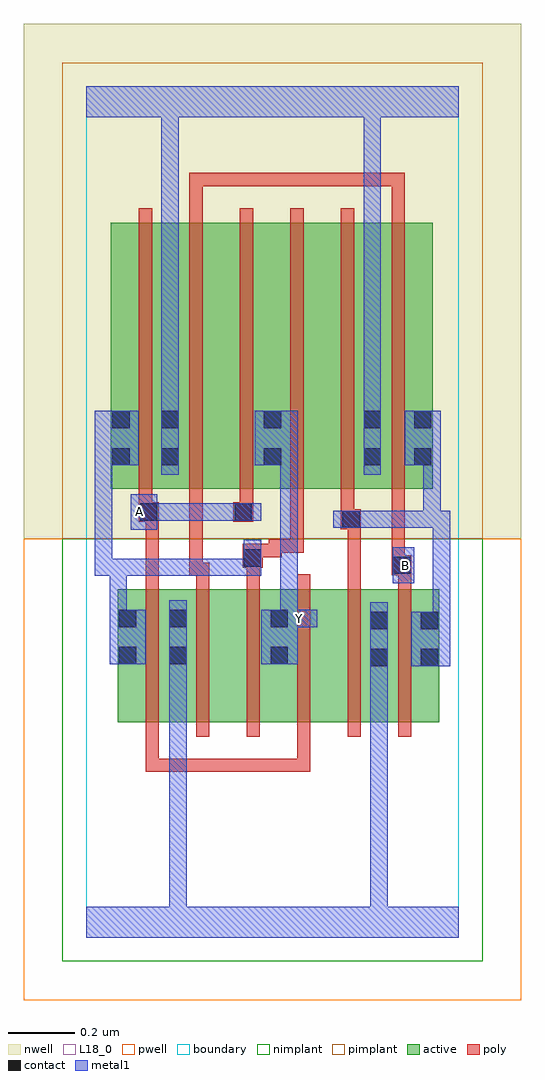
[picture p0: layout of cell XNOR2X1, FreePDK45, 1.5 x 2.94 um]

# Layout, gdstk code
import gdstk
lib = gdstk.Library(unit=1e-6, precision=1e-09)
def R(c, l, rs):  # rectangles x0, y0, x1, y1
    for r in rs: c.add(gdstk.rectangle(r[:2], r[2:], *l))
def A(c, l, x, y, w, h, nx, ny, dx, dy):  # array of equal rectangles
    R(c, l, [(x+i*dx, y+j*dy, x+i*dx+w, y+j*dy+h) for i in range(nx) for j in range(ny)])
active = (1, 0)
pwell = (2, 0)
nwell = (3, 0)
nimplant = (4, 0)
pimplant = (5, 0)
poly = (9, 0)
contact = (10, 0)
metal1 = (11, 0)
L18_0 = (18, 0)
boundary = (235, 0)

xnor2x1 = lib.new_cell('XNOR2X1')
R(xnor2x1, active, [(0.094,0.648,0.154,1.048), (0.094,0.648,0.306,1.048), (0.246,0.648,0.426,1.048), (0.426,0.648,0.61,1.048), (0.55,0.648,0.73,1.048), (0.73,0.648,0.91,1.048), (0.85,0.648,1.062,1.048), (1.002,0.648,1.062,1.048), (0.246,0.756,0.306,0.99), (0.55,0.756,0.61,0.99), (0.85,0.756,0.91,0.984), (0.074,1.35,0.134,2.044), (0.074,1.35,0.282,2.15), (0.222,1.35,0.406,2.15), (0.406,1.35,0.59,2.15), (0.53,1.35,0.59,2.15), (0.53,1.35,0.71,2.15), (0.71,1.35,0.89,2.15), (0.83,1.35,1.042,2.15), (0.83,1.35,0.89,2.15), (0.982,1.35,1.042,2.044), (0.222,1.372,0.282,2.15)])
R(xnor2x1, pwell, [(-0.188,-0.188,1.308,1.2)])
R(xnor2x1, nwell, [(-0.188,1.2,1.308,2.748)])
R(xnor2x1, nimplant, [(-0.072,-0.072,1.192,1.2)])
R(xnor2x1, pimplant, [(-0.072,1.2,1.192,2.632)])
A(xnor2x1, poly, 0.178, 0.604, 0.04, 0.488, 6, 1, 0.152, 0)
A(xnor2x1, poly, 0.158, 1.306, 0.04, 0.888, 6, 1, 0.152, 0)
R(xnor2x1, poly, [(0.178,0.498,0.218,0.644), (0.178,0.498,0.218,0.538), (0.178,0.498,0.218,0.538), (0.178,0.498,0.218,0.538), (0.178,0.498,0.376,0.538), (0.336,0.498,0.376,0.538), (0.336,0.498,0.376,0.538), (0.336,0.498,0.376,0.538), (0.336,0.498,0.482,0.538), (0.442,0.498,0.482,0.538), (0.442,0.498,0.482,0.538), (0.442,0.498,0.482,0.538), (0.442,0.498,0.674,0.538), (0.634,0.498,0.674,0.644), (0.634,0.498,0.674,0.538), (0.178,1.052,0.218,1.29), (0.33,1.052,0.37,1.128), (0.482,1.052,0.522,1.152), (0.786,1.052,0.826,1.268), (0.938,1.052,0.978,1.13), (0.31,1.088,0.35,1.346), (0.31,1.088,0.37,1.128), (0.33,1.088,0.37,1.128), (0.33,1.088,0.37,1.128), (0.918,1.09,0.978,1.15), (0.918,1.11,0.958,1.15), (0.918,1.11,0.958,1.15), (0.918,1.11,0.958,1.346), (0.47,1.112,0.53,1.184), (0.49,1.144,0.588,1.184), (0.548,1.144,0.588,1.198), (0.548,1.158,0.654,1.198), (0.614,1.158,0.654,1.198), (0.614,1.158,0.654,1.198), (0.614,1.158,0.654,1.198), (0.614,1.158,0.654,1.346), (0.766,1.228,0.826,1.288), (0.786,1.228,0.826,1.268), (0.786,1.228,0.826,1.268), (0.766,1.248,0.806,1.346), (0.158,1.25,0.218,1.31), (0.178,1.25,0.218,1.29), (0.178,1.25,0.218,1.29), (0.442,1.25,0.502,1.31), (0.158,1.27,0.198,1.346), (0.462,1.27,0.502,1.346), (0.31,2.154,0.35,2.3), (0.918,2.154,0.958,2.3), (0.31,2.26,0.35,2.3), (0.31,2.26,0.35,2.3), (0.31,2.26,0.35,2.3), (0.31,2.26,0.486,2.3), (0.446,2.26,0.486,2.3), (0.446,2.26,0.486,2.3), (0.446,2.26,0.486,2.3), (0.446,2.26,0.7,2.3), (0.66,2.26,0.7,2.3), (0.66,2.26,0.852,2.3), (0.812,2.26,0.852,2.3), (0.812,2.26,0.852,2.3), (0.812,2.26,0.852,2.3), (0.812,2.26,0.958,2.3), (0.918,2.26,0.958,2.3), (0.918,2.26,0.958,2.3), (0.918,2.26,0.958,2.3)])
R(xnor2x1, contact, [(0.854,0.816,0.906,0.868), (1.006,0.816,1.058,0.868), (0.098,0.822,0.15,0.874), (0.25,0.822,0.302,0.874), (0.554,0.822,0.606,0.874), (0.854,0.928,0.906,0.98), (1.006,0.928,1.058,0.98), (0.098,0.934,0.15,0.986), (0.25,0.934,0.302,0.986), (0.554,0.934,0.606,0.986), (0.922,1.094,0.974,1.146), (0.474,1.116,0.526,1.168), (0.77,1.232,0.822,1.284), (0.162,1.254,0.214,1.306), (0.446,1.254,0.498,1.306), (0.078,1.42,0.13,1.472), (0.226,1.42,0.278,1.472), (0.534,1.42,0.586,1.472), (0.834,1.42,0.886,1.472), (0.986,1.42,1.038,1.472), (0.078,1.532,0.13,1.584), (0.226,1.532,0.278,1.584), (0.534,1.532,0.586,1.584), (0.834,1.532,0.886,1.584), (0.986,1.532,1.038,1.584)])
R(xnor2x1, metal1, [(0,0,1.12,0.092), (0.25,0.04,0.302,0.092), (0.25,0.04,0.302,0.092), (0.25,0.04,0.302,0.092), (0.25,0.04,0.302,0.092), (0.25,0.04,0.302,0.092), (0.25,0.04,0.302,0.092), (0.25,0.04,0.302,0.092), (0.25,0.04,0.302,0.092), (0.25,0.04,0.302,0.846), (0.854,0.04,0.906,0.092), (0.854,0.04,0.906,0.092), (0.854,0.04,0.906,0.84), (0.854,0.788,0.906,0.84), (0.854,0.788,0.906,0.84), (0.854,0.788,0.906,0.84), (0.854,0.788,0.906,0.84), (0.854,0.788,0.906,0.84), (0.854,0.788,0.906,0.84), (0.854,0.788,0.906,0.84), (0.854,0.788,0.906,0.84), (0.854,0.788,0.906,0.84), (0.854,0.788,0.906,0.84), (0.854,0.788,0.906,1.008), (0.25,0.794,0.302,0.846), (0.25,0.794,0.302,0.846), (0.25,0.794,0.302,0.846), (0.25,0.794,0.302,0.846), (0.25,0.794,0.302,1.014), (0.978,0.816,1.094,0.98), (0.07,0.822,0.178,0.986), (0.526,0.822,0.636,0.986), (1.042,0.928,1.094,1.284), (1.042,0.928,1.094,0.98), (1.042,0.928,1.094,0.98), (0.07,0.934,0.122,1.14), (0.584,0.934,0.636,0.986), (0.584,0.934,0.636,0.986), (0.584,0.934,0.636,0.986), (0.584,0.934,0.636,1.472), (0.584,0.934,0.694,0.986), (0.922,1.066,0.986,1.174), (0.026,1.088,0.078,1.14), (0.026,1.088,0.078,1.14), (0.026,1.088,0.078,1.472), (0.026,1.088,0.122,1.14), (0.07,1.088,0.122,1.14), (0.07,1.088,0.122,1.14), (0.07,1.088,0.324,1.14), (0.272,1.088,0.324,1.14), (0.272,1.088,0.324,1.14), (0.272,1.088,0.324,1.14), (0.272,1.088,0.448,1.14), (0.396,1.088,0.448,1.14), (0.396,1.088,0.526,1.14), (0.474,1.088,0.526,1.196), (0.134,1.226,0.214,1.334), (0.742,1.232,0.85,1.284), (0.798,1.232,0.85,1.284), (0.798,1.232,0.85,1.284), (0.798,1.232,1.066,1.284), (1.014,1.232,1.066,1.472), (1.014,1.232,1.066,1.284), (1.014,1.232,1.066,1.284), (1.014,1.232,1.094,1.284), (0.162,1.254,0.324,1.306), (0.272,1.254,0.324,1.306), (0.272,1.254,0.324,1.306), (0.272,1.254,0.324,1.306), (0.272,1.254,0.448,1.306), (0.396,1.254,0.448,1.306), (0.396,1.254,0.47,1.306), (0.418,1.254,0.526,1.306), (0.226,1.392,0.278,1.612), (0.834,1.392,0.886,1.612), (0.026,1.42,0.158,1.584), (0.506,1.42,0.636,1.584), (0.958,1.42,1.066,1.584), (0.226,1.56,0.278,2.52), (0.834,1.56,0.886,2.52), (0,2.468,1.12,2.56), (0.226,2.468,0.278,2.52), (0.226,2.468,0.278,2.52), (0.226,2.468,0.278,2.52), (0.226,2.468,0.278,2.52), (0.226,2.468,0.278,2.52), (0.226,2.468,0.278,2.52), (0.226,2.468,0.278,2.52), (0.226,2.468,0.278,2.52), (0.834,2.468,0.886,2.52), (0.834,2.468,0.886,2.52), (0.834,2.468,0.886,2.52), (0.834,2.468,0.886,2.52), (0.834,2.468,0.886,2.52), (0.834,2.468,0.886,2.52), (0.834,2.468,0.886,2.52), (0.834,2.468,0.886,2.52)])
R(xnor2x1, L18_0, [(0,0,1.12,0.092), (0.25,0.04,0.302,0.092), (0.25,0.04,0.302,0.092), (0.25,0.04,0.302,0.092), (0.25,0.04,0.302,0.092), (0.25,0.04,0.302,0.092), (0.25,0.04,0.302,0.092), (0.25,0.04,0.302,0.092), (0.25,0.04,0.302,0.092), (0.25,0.04,0.302,0.846), (0.854,0.04,0.906,0.092), (0.854,0.04,0.906,0.092), (0.854,0.04,0.906,0.84), (0.854,0.788,0.906,0.84), (0.854,0.788,0.906,0.84), (0.854,0.788,0.906,0.84), (0.854,0.788,0.906,0.84), (0.854,0.788,0.906,0.84), (0.854,0.788,0.906,0.84), (0.854,0.788,0.906,0.84), (0.854,0.788,0.906,0.84), (0.854,0.788,0.906,0.84), (0.854,0.788,0.906,0.84), (0.854,0.788,0.906,1.008), (0.25,0.794,0.302,0.846), (0.25,0.794,0.302,0.846), (0.25,0.794,0.302,0.846), (0.25,0.794,0.302,0.846), (0.25,0.794,0.302,1.014), (0.526,0.822,0.636,0.986), (0.584,0.934,0.636,0.986), (0.584,0.934,0.636,0.986), (0.584,0.934,0.636,0.986), (0.584,0.934,0.694,0.986), (0.584,0.934,0.636,1.472), (0.614,0.934,0.666,0.986), (0.922,1.066,0.986,1.174), (0.934,1.094,0.986,1.146), (0.134,1.226,0.214,1.334), (0.134,1.254,0.186,1.306), (0.162,1.254,0.324,1.306), (0.272,1.254,0.324,1.306), (0.272,1.254,0.324,1.306), (0.272,1.254,0.324,1.306), (0.272,1.254,0.448,1.306), (0.396,1.254,0.448,1.306), (0.396,1.254,0.47,1.306), (0.418,1.254,0.526,1.306), (0.226,1.392,0.278,1.612), (0.834,1.392,0.886,1.612), (0.506,1.42,0.636,1.584), (0.226,1.56,0.278,2.52), (0.834,1.56,0.886,2.52), (0,2.468,1.12,2.56), (0.226,2.468,0.278,2.52), (0.226,2.468,0.278,2.52), (0.226,2.468,0.278,2.52), (0.226,2.468,0.278,2.52), (0.226,2.468,0.278,2.52), (0.226,2.468,0.278,2.52), (0.226,2.468,0.278,2.52), (0.226,2.468,0.278,2.52), (0.834,2.468,0.886,2.52), (0.834,2.468,0.886,2.52), (0.834,2.468,0.886,2.52), (0.834,2.468,0.886,2.52), (0.834,2.468,0.886,2.52), (0.834,2.468,0.886,2.52), (0.834,2.468,0.886,2.52), (0.834,2.468,0.886,2.52)])
R(xnor2x1, boundary, [(0,0,1.12,2.56)])
xnor2x1.add(gdstk.Label('A', (0.16,1.28), layer=11, texttype=0))
xnor2x1.add(gdstk.Label('B', (0.96,1.12), layer=11, texttype=0))
xnor2x1.add(gdstk.Label('Y', (0.64,0.96), layer=11, texttype=0))

lib.write_gds('XNOR2X1.gds')
